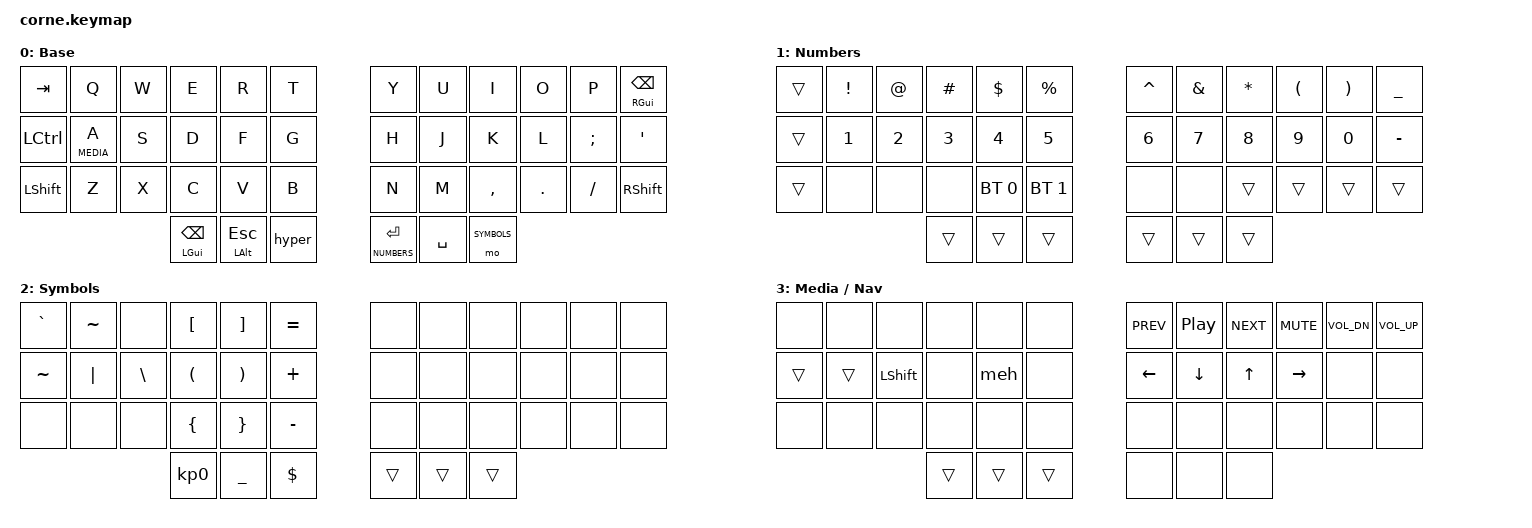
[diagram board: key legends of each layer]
/*
 * Copyright (c) 2020 The ZMK Contributors
 *
 * SPDX-License-Identifier: MIT
 */

#include <behaviors.dtsi>
#include <dt-bindings/zmk/bt.h>
#include <dt-bindings/zmk/keys.h>

#define BASE     0
#define NUMBERS  1
#define SYMBOLS  2
#define MEDIA    3

/ {
        behaviors {
                backspace_mt: backspace_mod_tap {
                        compatible = "zmk,behavior-hold-tap";
                        #binding-cells = <2>;
                        display-name = "Backspace Mod-Tap";
                        flavor = "balanced";
                        tapping-term-ms = <200>;
                        quick-tap-ms = <300>;
                        bindings = <&kp>, <&kp>;
                };

                enter_lt: enter_layer_tap {
                        compatible = "zmk,behavior-hold-tap";
                        #binding-cells = <2>;
                        display-name = "Enter Layer-Tap";
                        flavor = "hold-preferred";
                        tapping-term-ms = <200>;
                        bindings = <&mo>, <&kp>;
                };
        };

        macros {
                // Hold real modifiers so they also apply to keys pressed while held.
                hyper: hyper {
                        compatible = "zmk,behavior-macro";
                        #binding-cells = <0>;
                        display-name = "Hyper";
                        wait-ms = <0>;
                        bindings = <&macro_press &kp LCTRL &kp LSHFT &kp LALT &kp LGUI>,
                                   <&macro_pause_for_release>,
                                   <&macro_release &kp LGUI &kp LALT &kp LSHFT &kp LCTRL>;
                };

                meh: meh {
                        compatible = "zmk,behavior-macro";
                        #binding-cells = <0>;
                        display-name = "Meh";
                        wait-ms = <0>;
                        bindings = <&macro_press &kp LCTRL &kp LSHFT &kp LALT>,
                                   <&macro_pause_for_release>,
                                   <&macro_release &kp LALT &kp LSHFT &kp LCTRL>;
                };
        };

        keymap {
                compatible = "zmk,keymap";

// Tap/Hold shows dual-role keys. ... = transparent; --- = disabled.
// Hyper = Ctrl+Shift+Opt+Cmd; Meh = Ctrl+Shift+Opt.

// 0: Base
// |   Tab   |    Q    |    W    |    E    |    R    |    T    |  |    Y    |    U    |    I    |    O    |    P    |Bksp/RCmd|
// |  LCtrl  | A/Media |    S    |    D    |    F    |    G    |  |    H    |    J    |    K    |    L    |    ;    |    '    |
// | LShift  |    Z    |    X    |    C    |    V    |    B    |  |    N    |    M    |    ,    |    .    |    /    | RShift  |
//                               |Bksp/LCmd| Esc/Opt |  Hyper  |  |Enter/Num|  Space  | Symbols |
                base_layer {
                        display-name = "Base";
                        // QMK encodes MOD_LGUI | MOD_RGUI as right GUI, not both.
                        bindings = <
    &kp TAB    &kp Q         &kp W         &kp E     &kp R  &kp T    &kp Y           &kp U     &kp I     &kp O    &kp P     &backspace_mt RGUI BSPC
    &kp LCTRL  &lt MEDIA A   &kp S         &kp D     &kp F  &kp G    &kp H           &kp J     &kp K     &kp L    &kp SEMI  &kp SQT
    &kp LSHFT  &kp Z         &kp X         &kp C     &kp V  &kp B    &kp N           &kp M     &kp COMMA &kp DOT  &kp FSLH  &kp RSHFT
                      &backspace_mt LGUI BSPC &mt LALT ESC &hyper  &enter_lt NUMBERS RET &kp SPACE &mo SYMBOLS
                        >;
                };

// 1: Numbers (hold Enter)
// |   ...   |    !    |    @    |    #    |    $    |    %    |  |    ^    |    &    |    *    |    (    |    )    |    _    |
// |   ...   |    1    |    2    |    3    |    4    |    5    |  |    6    |    7    |    8    |    9    |    0    |    -    |
// |   ...   |   ---   |   ---   |   ---   |  BT 0   |  BT 1   |  |   ---   |   ---   |   ...   |   ...   |   ...   |   ...   |
//                               |   ...   |   ...   |   ...   |  |   ...   |   ...   |   ...   |
                numbers_layer {
                        display-name = "Numbers";
                        // V and B select Bluetooth profiles; Z through C remain disabled.
                        bindings = <
    &trans  &kp EXCL &kp AT   &kp HASH &kp DLLR &kp PRCNT    &kp CARET &kp AMPS &kp ASTRK &kp LPAR &kp RPAR &kp UNDER
    &trans  &kp N1   &kp N2   &kp N3   &kp N4   &kp N5       &kp N6    &kp N7   &kp N8    &kp N9   &kp N0   &kp MINUS
    &trans  &none    &none    &none    &bt BT_SEL 0 &bt BT_SEL 1    &none     &none    &trans    &trans   &trans   &trans
                     &trans   &trans   &trans              &trans    &trans   &trans
                        >;
                };

// 2: Symbols (hold outer right thumb)
// |    `    |    ~    |   ---   |    [    |    ]    |    =    |  |   ---   |   ---   |   ---   |   ---   |   ---   |   ---   |
// |    ~    |  Pipe   |    \    |    (    |    )    |    +    |  |   ---   |   ---   |   ---   |   ---   |   ---   |   ---   |
// |   ---   |   ---   |   ---   |    {    |    }    |    -    |  |   ---   |   ---   |   ---   |   ---   |   ---   |   ---   |
//                               |Keypad 0 |    _    |    $    |  |   ...   |   ...   |   ...   |
                symbols_layer {
                        display-name = "Symbols";
                        bindings = <
    &kp GRAVE &kp TILDE &none     &kp LBKT  &kp RBKT  &kp EQUAL    &none  &none  &none  &none  &none  &none
    &kp TILDE &kp PIPE  &kp BSLH  &kp LPAR  &kp RPAR  &kp PLUS     &none  &none  &none  &none  &none  &none
    &none     &none     &none     &kp LBRC  &kp RBRC  &kp MINUS    &none  &none  &none  &none  &none  &none
                        &kp KP_N0 &kp UNDER &kp DLLR             &trans &trans &trans
                        >;
                };

// 3: Media / Nav (hold A)
// |   ---   |   ---   |   ---   |   ---   |   ---   |   ---   |  |  Prev   |PlayPause|  Next   |  Mute   |Vol Down | Vol Up  |
// |   ...   |   ...   | LShift  |   ---   |   Meh   |   ---   |  |  Left   |  Down   |   Up    |  Right  |   ---   |   ---   |
// |   ---   |   ---   |   ---   |   ---   |   ---   |   ---   |  |   ---   |   ---   |   ---   |   ---   |   ---   |   ---   |
//                               |   ...   |   ...   |   ...   |  |   ---   |   ---   |   ---   |
                media_layer {
                        display-name = "Media / Nav";
                        bindings = <
    &none   &none  &none     &none  &none &none    &kp C_PREV &kp C_PP &kp C_NEXT &kp C_MUTE &kp C_VOL_DN &kp C_VOL_UP
    &trans  &trans &kp LSHFT &none  &meh  &none    &kp LEFT   &kp DOWN &kp UP     &kp RIGHT  &none        &none
    &none   &none  &none     &none  &none &none    &none      &none    &none      &none      &none        &none
                   &trans    &trans &trans        &none      &none    &none
                        >;
                };
        };
};
